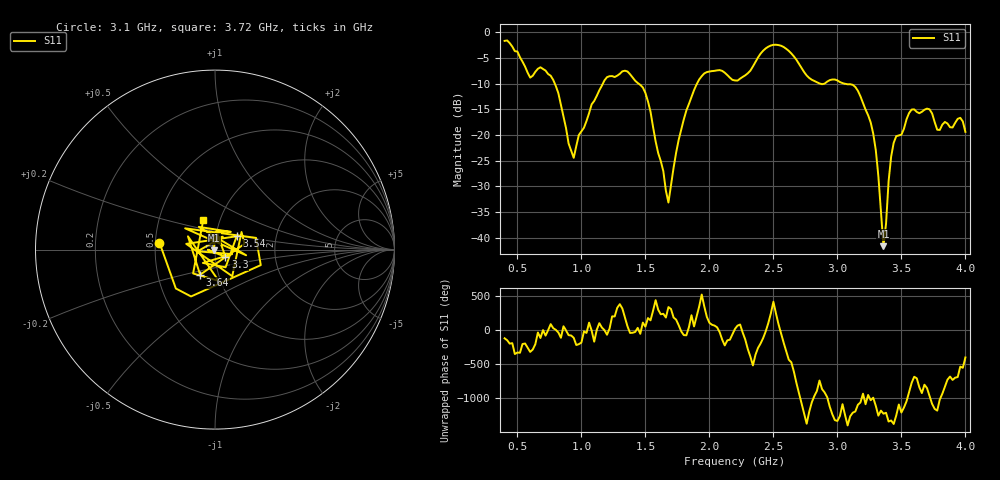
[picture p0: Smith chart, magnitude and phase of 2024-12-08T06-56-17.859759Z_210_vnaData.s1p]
!Created with skrf (http://scikit-rf.org).
# Hz S RI R 50.0
!freq ReS11 ImS11
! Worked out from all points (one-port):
!   181 points, 400 MHz to 4 GHz, reference 50 ohm
!   lowest |S11| = -41.7 dB at 3.36 GHz (marker M1), VSWR 1.02, Z = 49.3 - j0.415 ohm
!   |S11| at or under -10 dB: 792.1 MHz to 1.168 GHz (375.7 MHz wide, 38.3 % of centre); 1.446 GHz to 1.903 GHz (456.8 MHz wide, 27.3 % of centre); 3.054 GHz to end of sweep (the widest 3 of 4)
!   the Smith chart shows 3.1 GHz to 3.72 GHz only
!   S11 on the Smith chart (normalised r, x): 3.1 GHz: 0.53, +0.05; 3.3 GHz: 1.12, -0.09; 3.54 GHz: 1.26, +0.19; 3.64 GHz: 0.82, -0.23; 3.72 GHz: 0.83, +0.28
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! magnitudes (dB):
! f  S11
! 400 MHz  -1.7
! 600 MHz  -8.8
! 760 MHz  -8.5
! 860 MHz  -16.3
! 940 MHz  -24.5
! 980 MHz  -20.0
! 1.18 GHz  -9.4
! 1.3 GHz  -8.1
! 1.5 GHz  -11.8
! 1.68 GHz  -33.2
! 1.76 GHz  -20.9
! 1.96 GHz  -8.0
! 2.2 GHz  -9.4
! 2.48 GHz  -2.6
! 2.66 GHz  -4.7
! 2.84 GHz  -9.7
! 3.1 GHz  -10.1
! 3.24 GHz  -16.2
! 3.3 GHz  -23.0
! 3.36 GHz  -41.7
! 3.42 GHz  -24.2
! 3.54 GHz  -17.0
! 3.56 GHz  -15.7
! 3.64 GHz  -15.8
! 3.72 GHz  -15.0
! 3.78 GHz  -19.0
! 3.96 GHz  -16.7
! 4 GHz  -19.4
